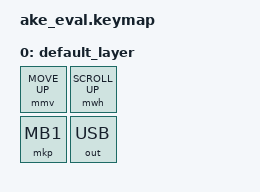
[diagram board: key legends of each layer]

#include <behaviors.dtsi>
#include <dt-bindings/zmk/keys.h>
#include <dt-bindings/zmk/bt.h>
#include <dt-bindings/zmk/outputs.h>

#include "mouse.dtsi"

/ {
    keymap {
        compatible = "zmk,keymap";

        default_layer {
            bindings = <
                &mmv MOVE_UP     &mwh SCROLL_UP
                &mkp MB1     &out OUT_USB
            >;
        };
    };
};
